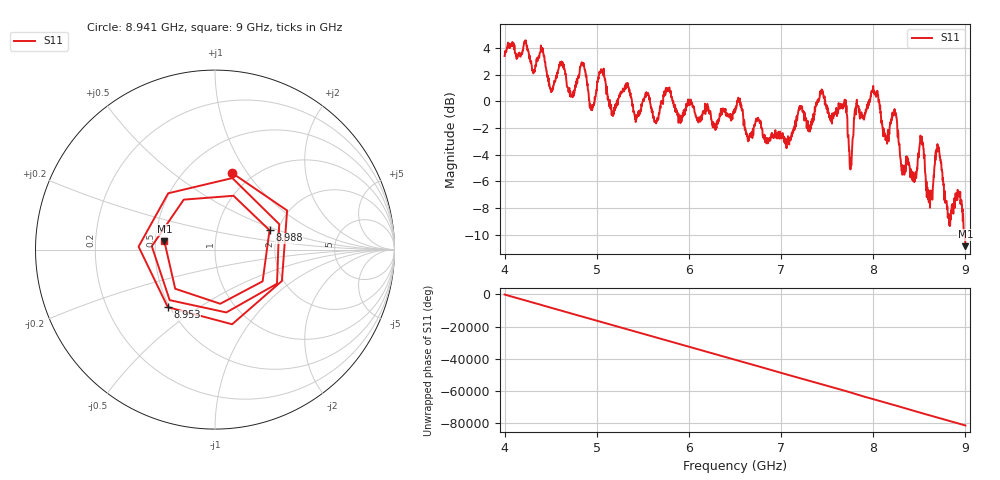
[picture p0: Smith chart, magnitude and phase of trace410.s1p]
! Created with skrf 1.8.0 (http://scikit-rf.org).
# Hz S RI R 50.0
!freq ReS11 ImS11
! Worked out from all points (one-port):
!   1601 points, 4 GHz to 9 GHz, reference 50 ohm
!   lowest |S11| = -10.9 dB at 9 GHz (marker M1), VSWR 1.80, Z = 27.9 + j2.84 ohm
!   |S11| at or under -10 dB: 8.991478 GHz to end of sweep
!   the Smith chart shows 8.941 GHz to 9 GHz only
!   S11 on the Smith chart (normalised r, x): 8.941 GHz: 0.81, +0.85; 8.953 GHz: 0.49, -0.38; 8.988 GHz: 1.81, +0.43; 9 GHz: 0.56, +0.06
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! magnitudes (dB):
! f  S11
! 4 GHz  3.4
! 4.406 GHz  3.9
! 4.506 GHz  0.7
! 4.625 GHz  2.9
! 4.731 GHz  0.4
! 4.853 GHz  2.7
! 4.947 GHz  -0.3
! 5.05 GHz  2.2
! 5.162 GHz  -1.0
! 5.25 GHz  0.6
! 5.875 GHz  -1.0
! 6.5 GHz  -0.6
! 7.125 GHz  -2.3
! 7.447 GHz  0.8
! 7.691 GHz  0.1
! 7.75 GHz  -4.7
! 7.816 GHz  -0.2
! 8.003 GHz  0.9
! 8.375 GHz  -4.7
! 8.45 GHz  -6.0
! 8.525 GHz  -2.8
! 8.619 GHz  -6.8
! 8.703 GHz  -3.4
! 8.822 GHz  -9.0
! 8.941 GHz  -7.2
! 8.953 GHz  -7.6
! 8.988 GHz  -9.8
! 9 GHz  -10.9
